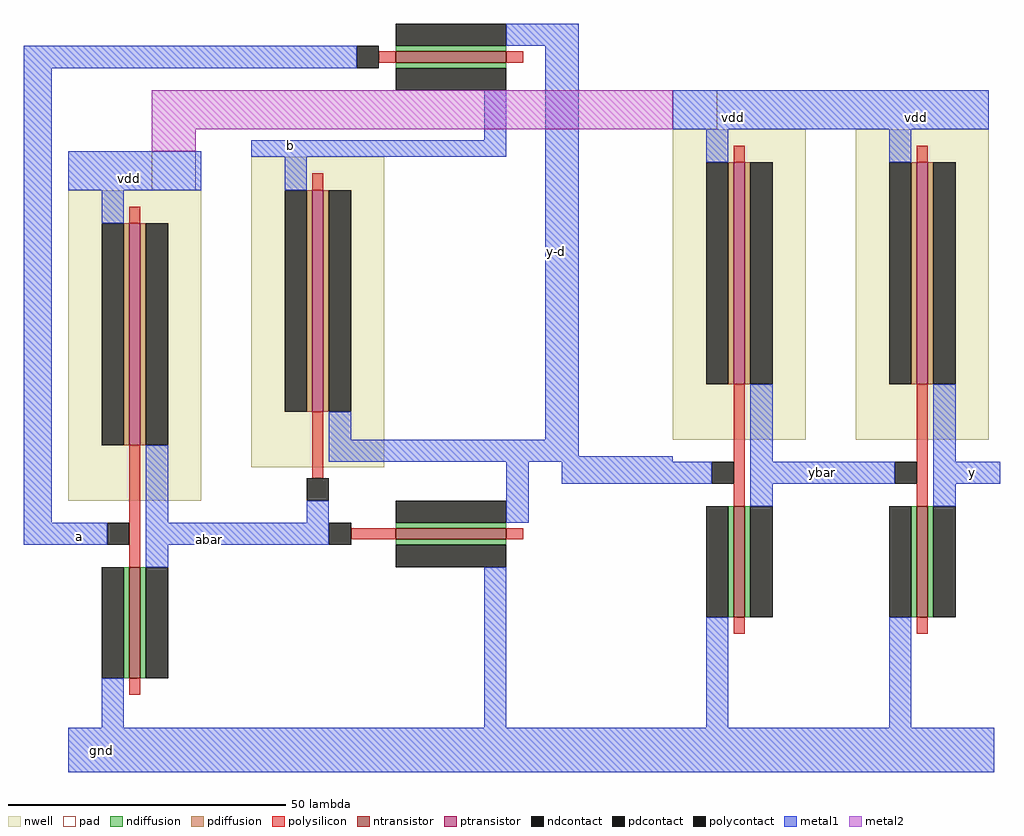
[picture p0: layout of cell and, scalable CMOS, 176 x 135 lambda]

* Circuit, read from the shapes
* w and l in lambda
.subckt and a abar b gnd vdd y y-d ybar
M1 abar a gnd VSUBS nfet w=20 l=2
M2 y-d abar gnd VSUBS nfet w=20 l=2
M3 y-d a b VSUBS nfet w=20 l=2
M4 ybar y-d gnd VSUBS nfet w=20 l=2
M5 y ybar gnd VSUBS nfet w=20 l=2
M6 abar a vdd n1 pfet w=40 l=2
M7 y-d abar b n2 pfet w=40 l=2
M8 ybar y-d vdd n3 pfet w=40 l=2
M9 y ybar vdd n4 pfet w=40 l=2
.ends

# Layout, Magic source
magic
tech scmos
<< nwell >>
rect -16 -2 8 54
rect 17 4 41 60
rect 93 9 117 65
rect 126 9 150 65
<< polysilicon >>
rect 40 77 43 79
rect 63 77 66 79
rect 104 59 106 62
rect 137 59 139 62
rect 28 54 30 57
rect -5 48 -3 51
rect -5 -14 -3 8
rect 28 2 30 14
rect 104 -3 106 19
rect 137 -3 139 19
rect 35 -9 43 -7
rect 63 -9 66 -7
rect 104 -26 106 -23
rect 137 -26 139 -23
rect -5 -37 -3 -34
<< ndiffusion >>
rect 43 79 63 80
rect 43 76 63 77
rect 43 -7 63 -6
rect 43 -10 63 -9
rect -6 -34 -5 -14
rect -3 -34 -2 -14
rect 103 -23 104 -3
rect 106 -23 107 -3
rect 136 -23 137 -3
rect 139 -23 140 -3
<< pdiffusion >>
rect -6 8 -5 48
rect -3 8 -2 48
rect 27 14 28 54
rect 30 14 31 54
rect 103 19 104 59
rect 106 19 107 59
rect 136 19 137 59
rect 139 19 140 59
<< metal1 >>
rect 63 80 76 84
rect -24 76 36 80
rect -24 -6 -19 76
rect 59 63 63 72
rect -16 54 8 61
rect 17 60 63 63
rect 23 54 27 60
rect -10 48 -6 54
rect -2 -6 2 8
rect 31 9 35 14
rect 70 9 76 80
rect 93 65 150 72
rect 99 59 103 65
rect 132 59 136 65
rect 31 6 76 9
rect 31 5 93 6
rect 107 5 111 19
rect 140 5 144 19
rect 27 -6 31 -2
rect 63 -6 67 5
rect 73 1 100 5
rect 107 1 133 5
rect 140 1 152 5
rect 107 -3 111 1
rect 140 -3 144 1
rect -24 -10 -9 -6
rect -2 -10 31 -6
rect -2 -14 2 -10
rect -10 -43 -6 -34
rect 59 -43 63 -14
rect 99 -43 103 -23
rect 132 -43 136 -23
rect -16 -51 151 -43
<< metal2 >>
rect -1 65 93 72
rect -1 61 7 65
<< ntransistor >>
rect 43 77 63 79
rect 43 -9 63 -7
rect -5 -34 -3 -14
rect 104 -23 106 -3
rect 137 -23 139 -3
<< ptransistor >>
rect -5 8 -3 48
rect 28 14 30 54
rect 104 19 106 59
rect 137 19 139 59
<< polycontact >>
rect 36 76 40 80
rect -9 -10 -5 -6
rect 27 -2 31 2
rect 100 1 104 5
rect 133 1 137 5
rect 31 -10 35 -6
<< ndcontact >>
rect 43 80 63 84
rect 43 72 63 76
rect 43 -6 63 -2
rect 43 -14 63 -10
rect -10 -34 -6 -14
rect -2 -34 2 -14
rect 99 -23 103 -3
rect 107 -23 111 -3
rect 132 -23 136 -3
rect 140 -23 144 -3
<< pdcontact >>
rect -10 8 -6 48
rect -2 8 2 48
rect 23 14 27 54
rect 31 14 35 54
rect 99 19 103 59
rect 107 19 111 59
rect 132 19 136 59
rect 140 19 144 59
<< pad >>
rect 93 65 101 72
rect -1 54 7 61
<< labels >>
rlabel metal1 -17 -10 -11 -7 3 a
rlabel metal1 7 -10 12 -8 7 abar
rlabel metal1 -5 56 -5 56 5 vdd
rlabel metal1 24 62 24 62 1 b
rlabel metal1 120 3 120 3 1 ybar
rlabel metal1 147 3 147 3 7 y
rlabel metal1 104 67 104 67 5 vdd
rlabel metal1 137 67 137 67 5 vdd
rlabel metal1 72 43 72 43 1 y-d
rlabel metal1 -10 -47 -10 -47 1 gnd
<< end >>
